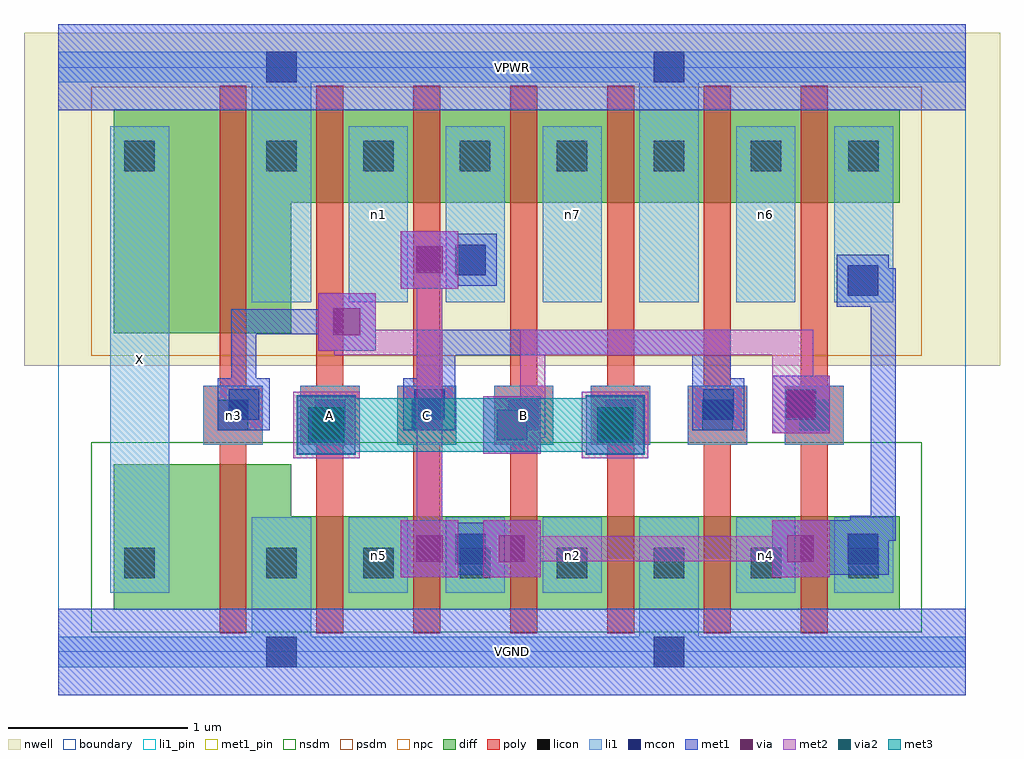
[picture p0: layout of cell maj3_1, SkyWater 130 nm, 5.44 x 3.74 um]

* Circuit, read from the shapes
.subckt maj3_1 A B C VGND VPWR X n1 n2 n3 n4 n5 n6 n7
XM1 VGND n3 X VSUBS sky130_fd_pr__nfet_01v8 w=0.81 l=0.15
XM2 n5 A VGND VSUBS sky130_fd_pr__nfet_01v8 w=0.52 l=0.15
XM3 n3 C n5 VSUBS sky130_fd_pr__nfet_01v8 w=0.52 l=0.15
XM4 n2 B n3 VSUBS sky130_fd_pr__nfet_01v8 w=0.52 l=0.15
XM5 VGND A n2 VSUBS sky130_fd_pr__nfet_01v8 w=0.52 l=0.15
XM6 n4 C VGND VSUBS sky130_fd_pr__nfet_01v8 w=0.52 l=0.15
XM7 n3 B n4 VSUBS sky130_fd_pr__nfet_01v8 w=0.52 l=0.15
XM8 VPWR n3 X n8 sky130_fd_pr__pfet_01v8 w=1.25 l=0.15
XM9 n1 A VPWR n8 sky130_fd_pr__pfet_01v8 w=0.52 l=0.15
XM10 n3 C n1 n8 sky130_fd_pr__pfet_01v8 w=0.52 l=0.15
XM11 n7 B n3 n8 sky130_fd_pr__pfet_01v8 w=0.52 l=0.15
XM12 VPWR A n7 n8 sky130_fd_pr__pfet_01v8 w=0.52 l=0.15
XM13 n6 C VPWR n8 sky130_fd_pr__pfet_01v8 w=0.52 l=0.15
XM14 n3 B n6 n8 sky130_fd_pr__pfet_01v8 w=0.52 l=0.15
.ends

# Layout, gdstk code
import gdstk
lib = gdstk.Library(unit=1e-6, precision=1e-09)
def R(c, l, rs):  # rectangles x0, y0, x1, y1
    for r in rs: c.add(gdstk.rectangle(r[:2], r[2:], *l))
def A(c, l, x, y, w, h, nx, ny, dx, dy):  # array of equal rectangles
    R(c, l, [(x+i*dx, y+j*dy, x+i*dx+w, y+j*dy+h) for i in range(nx) for j in range(ny)])
nwell = (64, 20)
diff = (65, 20)
poly = (66, 20)
licon = (66, 44)
li1_pin = (67, 16)
li1 = (67, 20)
mcon = (67, 44)
met1_pin = (68, 16)
met1 = (68, 20)
via = (68, 44)
met2 = (69, 20)
via2 = (69, 44)
met3 = (70, 20)
nsdm = (93, 44)
psdm = (94, 20)
npc = (95, 20)
boundary = (235, 4)

maj3_1 = lib.new_cell('maj3_1')
R(maj3_1, nwell, [(-0.19,1.595,5.25,3.45), (0,1.595,5.06,3.45)])
R(maj3_1, diff, [(0.31,0.235,1.3,1.045), (1.05,0.235,4.69,0.755), (0.31,1.775,1.3,3.025), (1.05,2.505,4.69,3.025)])
A(maj3_1, poly, 0.9, 0.105, 0.15, 3.05, 7, 1, 0.54, 0)
A(maj3_1, poly, 0.81, 1.155, 0.33, 0.33, 7, 1, 0.54, 0)
A(maj3_1, licon, 1.16, 0.41, 0.17, 0.17, 6, 2, 0.54, 2.27)
A(maj3_1, licon, 0.89, 1.235, 0.17, 0.17, 7, 1, 0.54, 0)
R(maj3_1, licon, [(0.37,0.41,0.54,0.58), (4.405,0.41,4.575,0.58), (0.37,2.68,0.54,2.85), (4.405,2.68,4.575,2.85)])
A(maj3_1, li1_pin, 1.35, 1.155, 0.33, 0.33, 3, 1, 0.54, 0)
R(maj3_1, li1_pin, [(0.29,0.33,0.62,2.93)])
A(maj3_1, li1, 1.62, 0.33, 0.33, 0.42, 3, 1, 0.54, 0)
A(maj3_1, li1, 0.81, 1.155, 0.33, 0.33, 7, 1, 0.54, 0)
A(maj3_1, li1, 1.62, 1.95, 0.33, 0.98, 3, 1, 0.54, 0)
R(maj3_1, li1, [(0,-0.085,5.06,0.085), (1.08,-0.085,1.41,0.75), (3.24,-0.085,3.57,0.75), (0.29,0.33,0.62,2.93), (3.78,0.33,4.11,0.75), (4.325,0.33,4.655,0.75), (1.08,1.95,1.41,3.345), (3.24,1.95,3.57,3.345), (3.78,1.95,4.11,2.93), (4.325,1.95,4.655,2.93), (0,3.175,5.06,3.345)])
R(maj3_1, mcon, [(1.16,-0.085,1.33,0.085), (3.32,-0.085,3.49,0.085), (2.215,0.49,2.385,0.66), (4.4,0.49,4.57,0.66), (1.41,1.18,1.58,1.35), (2.445,1.18,2.615,1.35), (3.02,1.18,3.19,1.35), (0.95,1.295,1.12,1.465), (1.985,1.295,2.155,1.465), (3.595,1.295,3.765,1.465), (4.055,1.295,4.225,1.465), (4.4,1.985,4.57,2.155), (2.215,2.1,2.385,2.27), (1.16,3.175,1.33,3.345), (3.32,3.175,3.49,3.345)])
R(maj3_1, met1_pin, [(0,-0.24,5.06,0.24), (0,3.02,5.06,3.5)])
R(maj3_1, met1, [(0,-0.24,5.06,0.24), (1.91,0.415,2.23,0.735), (2.37,0.415,2.69,0.735), (3.98,0.415,4.3,0.735), (2.155,0.43,2.445,0.72), (4.3,0.43,4.34,0.72), (4.34,0.43,4.63,0.72), (2,0.505,2.37,0.645), (2.23,0.505,2.6,0.645), (4.07,0.505,4.555,0.645), (4.3,0.505,4.415,0.735), (4.415,0.505,4.555,0.76), (4.3,0.62,4.415,0.735), (4.415,0.62,4.67,0.76), (4.53,0.62,4.67,2.14), (1.335,1.105,1.655,1.425), (2.37,1.105,2.69,1.425), (2.945,1.105,3.265,1.425), (1.35,1.12,1.64,1.41), (2.385,1.12,2.675,1.41), (2.96,1.12,3.25,1.41), (3.98,1.22,4.3,1.54), (0.89,1.235,1.18,1.525), (1.925,1.235,2.215,1.525), (3.535,1.235,3.825,1.525), (3.995,1.235,4.285,1.525), (0.965,1.31,1.105,1.91), (2,1.31,2.14,1.795), (3.61,1.31,3.75,1.795), (2,1.525,2.215,1.655), (3.535,1.525,3.75,1.655), (2,1.655,3.75,1.795), (1.45,1.68,1.77,2), (0.965,1.77,1.68,1.91), (4.34,1.925,4.63,2.215), (4.415,2,4.67,2.14), (1.91,2.025,2.23,2.345), (2.155,2.04,2.445,2.33), (2,2.115,2.37,2.255), (0,3.02,5.06,3.5)])
R(maj3_1, via, [(1.995,0.5,2.145,0.65), (2.455,0.5,2.605,0.65), (4.065,0.5,4.215,0.65), (1.42,1.19,1.57,1.34), (2.455,1.19,2.605,1.34), (3.03,1.19,3.18,1.34), (4.065,1.305,4.215,1.455), (1.535,1.765,1.685,1.915), (1.995,2.11,2.145,2.26)])
R(maj3_1, met2, [(1.91,0.415,2.23,0.735), (2.37,0.415,2.69,0.735), (3.98,0.415,4.3,0.735), (2,0.505,2.14,2.255), (2.46,0.505,4.21,0.645), (1.31,1.08,1.68,1.45), (2.92,1.08,3.29,1.45), (1.335,1.105,1.655,1.425), (2.37,1.105,2.69,1.425), (2.945,1.105,3.265,1.425), (2.46,1.195,2.715,1.335), (2.575,1.195,2.715,1.795), (3.98,1.22,4.3,1.54), (4.07,1.31,4.21,1.795), (3.98,1.54,4.21,1.655), (1.54,1.655,2.14,1.795), (1.54,1.655,1.68,1.91), (2.575,1.655,4.21,1.795), (1.45,1.68,1.77,2), (1.91,2.025,2.23,2.345)])
R(maj3_1, via2, [(1.395,1.165,1.595,1.365), (3.005,1.165,3.205,1.365)])
R(maj3_1, met3, [(1.33,1.1,1.66,1.43), (2.94,1.1,3.27,1.43), (1.345,1.115,3.255,1.415)])
R(maj3_1, nsdm, [(0.185,0.11,4.815,1.17)])
R(maj3_1, psdm, [(0.185,1.65,4.815,3.15)])
A(maj3_1, npc, 0.81, 1.155, 0.33, 0.33, 7, 1, 0.54, 0)
R(maj3_1, boundary, [(0,0,5.06,3.26)])
maj3_1.add(gdstk.Label('A', (1.515,1.32), layer=67, texttype=5))
maj3_1.add(gdstk.Label('B', (2.595,1.32), layer=67, texttype=5))
maj3_1.add(gdstk.Label('C', (2.055,1.32), layer=67, texttype=5))
maj3_1.add(gdstk.Label('X', (0.455,1.63), layer=67, texttype=5))
maj3_1.add(gdstk.Label('n3', (0.975,1.32), layer=67, texttype=5))
maj3_1.add(gdstk.Label('n5', (1.785,0.54), layer=67, texttype=5))
maj3_1.add(gdstk.Label('n2', (2.865,0.54), layer=67, texttype=5))
maj3_1.add(gdstk.Label('n4', (3.945,0.54), layer=67, texttype=5))
maj3_1.add(gdstk.Label('n1', (1.785,2.44), layer=67, texttype=5))
maj3_1.add(gdstk.Label('n7', (2.865,2.44), layer=67, texttype=5))
maj3_1.add(gdstk.Label('n6', (3.945,2.44), layer=67, texttype=5))
maj3_1.add(gdstk.Label('VPWR', (2.53,3.26), layer=68, texttype=5))
maj3_1.add(gdstk.Label('VGND', (2.53,0), layer=68, texttype=5))
maj3_1.add(gdstk.Label('A', (1.515,1.32), layer=67, texttype=16))
maj3_1.add(gdstk.Label('B', (2.595,1.32), layer=67, texttype=16))
maj3_1.add(gdstk.Label('C', (2.055,1.32), layer=67, texttype=16))
maj3_1.add(gdstk.Label('X', (0.455,1.63), layer=67, texttype=16))
maj3_1.add(gdstk.Label('VPWR', (2.53,3.26), layer=68, texttype=16))
maj3_1.add(gdstk.Label('VGND', (2.53,0), layer=68, texttype=16))

lib.write_gds('maj3_1.gds')
